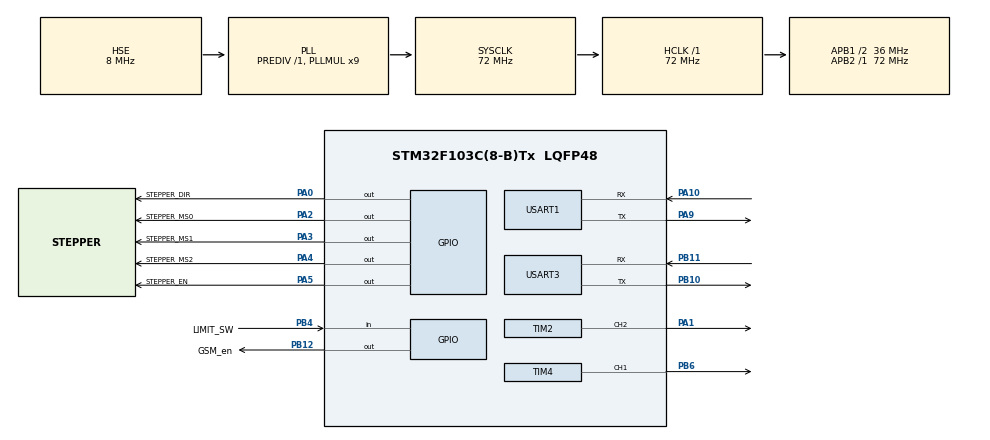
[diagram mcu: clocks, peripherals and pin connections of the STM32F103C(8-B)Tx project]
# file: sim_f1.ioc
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FREERTOS.HEAP_NUMBER=4
FREERTOS.INCLUDE_uxTaskPriorityGet=0
FREERTOS.INCLUDE_vTaskDelete=0
FREERTOS.Tasks01=defaultTask,0,128,StartDefaultTask,Default,NULL,Dynamic,NULL,NULL
FREERTOS.configTOTAL_HEAP_SIZE=12228
Mcu.Family=STM32F1
Mcu.Name=STM32F103C(8-B)Tx
Mcu.Package=LQFP48
NVIC.PriorityGroup=NVIC_PRIORITYGROUP_4
NVIC.TIM2_IRQn=true\:7\:0\:true\:true\:true\:1\:false\:true\:true
NVIC.TIM3_IRQn=true\:0\:0\:false\:false\:true\:false\:false\:true
NVIC.TimeBase=TIM3_IRQn
NVIC.TimeBaseIP=TIM3
NVIC.USART1_IRQn=true\:6\:0\:true\:false\:true\:false\:true\:true
NVIC.USART3_IRQn=true\:6\:0\:true\:false\:true\:true\:true\:true
PA0-WKUP.GPIO_Label=STEPPER_DIR
PA0-WKUP.Signal=GPIO_Output
PA1.Signal=S_TIM2_CH2
PA10.Mode=Asynchronous
PA10.Signal=USART1_RX
PA13.Mode=Trace_Asynchronous_SW
PA13.Signal=SYS_JTMS-SWDIO
PA14.Mode=Trace_Asynchronous_SW
PA14.Signal=SYS_JTCK-SWCLK
PA2.GPIO_Label=STEPPER_MS0
PA2.Signal=GPIO_Output
PA3.GPIO_Label=STEPPER_MS1
PA3.Signal=GPIO_Output
PA4.GPIO_Label=STEPPER_MS2
PA4.Signal=GPIO_Output
PA5.GPIO_Label=STEPPER_EN
PA5.Signal=GPIO_Output
PA9.Mode=Asynchronous
PA9.Signal=USART1_TX
PB10.Mode=Asynchronous
PB10.Signal=USART3_TX
PB11.Mode=Asynchronous
PB11.Signal=USART3_RX
PB12.GPIO_Label=GSM_en
PB12.GPIO_ModeDefaultOutputPP=GPIO_MODE_OUTPUT_OD
PB12.Signal=GPIO_Output
PB3.Mode=Trace_Asynchronous_SW
PB3.Signal=SYS_JTDO-TRACESWO
PB4.GPIO_Label=LIMIT_SW
PB4.GPIO_PuPd=GPIO_PULLUP
PB4.Signal=GPIO_Input
PB6.Signal=S_TIM4_CH1
PD0-OSC_IN.Mode=HSE-External-Oscillator
PD0-OSC_IN.Signal=RCC_OSC_IN
PD1-OSC_OUT.Mode=HSE-External-Oscillator
PD1-OSC_OUT.Signal=RCC_OSC_OUT
ProjectManager.HeapSize=0x200
ProjectManager.StackSize=0x400
ProjectManager.TargetToolchain=STM32CubeIDE
RCC.AHBFreq_Value=72000000
RCC.APB1CLKDivider=RCC_HCLK_DIV2
RCC.APB1Freq_Value=36000000
RCC.APB1TimFreq_Value=72000000
RCC.APB2Freq_Value=72000000
RCC.APB2TimFreq_Value=72000000
RCC.HCLKFreq_Value=72000000
RCC.PLLMUL=RCC_PLL_MUL9
RCC.PLLSourceVirtual=RCC_PLLSOURCE_HSE
RCC.SYSCLKFreq_VALUE=72000000
RCC.SYSCLKSource=RCC_SYSCLKSOURCE_PLLCLK
RCC.USBFreq_Value=72000000
SH.S_TIM2_CH2.0=TIM2_CH2,PWM Generation2 CH2
SH.S_TIM4_CH1.0=TIM4_CH1,PWM Generation1 CH1
TIM2.Channel-PWM\ Generation2\ CH2=TIM_CHANNEL_2
TIM2.Period=100
TIM2.Prescaler=3600
TIM2.Pulse-PWM\ Generation2\ CH2=50
TIM4.Channel-PWM\ Generation1\ CH1=TIM_CHANNEL_1
TIM4.Prescaler=18
TIM4.Pulse-PWM\ Generation1\ CH1=500
USART1.VirtualMode=VM_ASYNC
USART3.Parity=PARITY_NONE
USART3.VirtualMode=VM_ASYNC
VP_FREERTOS_VS_CMSIS_V1.Mode=CMSIS_V1
VP_SYS_VS_tim3.Mode=TIM3
VP_TIM2_VS_ClockSourceINT.Mode=Internal
VP_TIM4_VS_ClockSourceINT.Mode=Internal
board=custom

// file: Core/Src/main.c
/* USER CODE BEGIN Header */
/**
 ******************************************************************************
 * @file           : main.c
 * @brief          : Main program body
 ******************************************************************************
 * @attention
 *
 * <h2><center>&copy; Copyright (c) 2020 STMicroelectronics.
 * All rights reserved.</center></h2>
 *
 * This software component is licensed by ST under BSD 3-Clause license,
 * the "License"; You may not use this file except in compliance with the
 * License. You may obtain a copy of the License at:
 *                        opensource.org/licenses/BSD-3-Clause
 *
 ******************************************************************************
 */
/* USER CODE END Header */
#include "main.h"
#include "cmsis_os.h"
#include "tim.h"
#include "usart.h"
#include "gpio.h"

/* USER CODE BEGIN Includes */
#include "stepper.h"
#include "servo.h"
#include "uart_ui.h"
#include "sim800.h"
#include "core.h"
#include "atc.h"
#include "gsm.h"

/* USER CODE END Includes */

/* USER CODE BEGIN PTD */
atc_t atc;
/* USER CODE END PTD */

/* USER CODE BEGIN PD */
#include <stdio.h>

#define ITM_Port8(n)    (*((volatile unsigned char *)(0xE0000000+4*n)))
#define ITM_Port16(n)   (*((volatile unsigned short*)(0xE0000000+4*n)))
#define ITM_Port32(n)   (*((volatile unsigned long *)(0xE0000000+4*n)))

#define DEMCR           (*((volatile unsigned long *)(0xE000EDFC)))
#define TRCENA          0x01000000

struct __FILE
    {
	int handle; /* Add whatever you need here */
    };
FILE __stdout;
FILE __stdin;

int fputc(int ch, FILE *f)
    {
    if (DEMCR & TRCENA)
	{
	while (ITM_Port32(0) == 0)
	    ;
	ITM_Port8(0) = ch;
	}
    return (ch);
    }
/* USER CODE END PD */

void SystemClock_Config(void);
void MX_FREERTOS_Init(void);
static void MX_NVIC_Init(void);

int main(void)
    {

    /* MCU Configuration--------------------------------------------------------*/

    /* Reset of all peripherals, Initializes the Flash interface and the Systick. */
    HAL_Init();

    /* Configure the system clock */
    SystemClock_Config();

    /* Initialize all configured peripherals */
    MX_GPIO_Init();
    MX_TIM4_Init();
    MX_USART1_UART_Init();
    MX_USART3_UART_Init();
    MX_TIM2_Init();

    /* Initialize interrupts */
    MX_NVIC_Init();
    /* USER CODE BEGIN 2 */
    core_init();
    Servo_init();
    Stepper_init();
    uart_ui_init();
    uart_sim_init();
    gsm_printf("1");
    /* USER CODE END 2 */

    /* Call init function for freertos objects (in freertos.c) */
    MX_FREERTOS_Init();
    /* Start scheduler */
    osKernelStart();

    /* We should never get here as control is now taken by the scheduler */
    /* Infinite loop */
    while (1)
	{

	}
    }

void SystemClock_Config(void)
    {
    RCC_OscInitTypeDef RCC_OscInitStruct =
	{
	0
	};
    RCC_ClkInitTypeDef RCC_ClkInitStruct =
	{
	0
	};

    /** Initializes the RCC Oscillators according to the specified parameters
     * in the RCC_OscInitTypeDef structure.
     */
    RCC_OscInitStruct.OscillatorType = RCC_OSCILLATORTYPE_HSE;
    RCC_OscInitStruct.HSEState = RCC_HSE_ON;
    RCC_OscInitStruct.HSEPredivValue = RCC_HSE_PREDIV_DIV1;
    RCC_OscInitStruct.HSIState = RCC_HSI_ON;
    RCC_OscInitStruct.PLL.PLLState = RCC_PLL_ON;
    RCC_OscInitStruct.PLL.PLLSource = RCC_PLLSOURCE_HSE;
    RCC_OscInitStruct.PLL.PLLMUL = RCC_PLL_MUL9;
    if (HAL_RCC_OscConfig(&RCC_OscInitStruct) != HAL_OK)
	{
	Error_Handler();
	}
    /** Initializes the CPU, AHB and APB buses clocks
     */
    RCC_ClkInitStruct.ClockType = RCC_CLOCKTYPE_HCLK | RCC_CLOCKTYPE_SYSCLK
	    | RCC_CLOCKTYPE_PCLK1 | RCC_CLOCKTYPE_PCLK2;
    RCC_ClkInitStruct.SYSCLKSource = RCC_SYSCLKSOURCE_PLLCLK;
    RCC_ClkInitStruct.AHBCLKDivider = RCC_SYSCLK_DIV1;
    RCC_ClkInitStruct.APB1CLKDivider = RCC_HCLK_DIV2;
    RCC_ClkInitStruct.APB2CLKDivider = RCC_HCLK_DIV1;

    if (HAL_RCC_ClockConfig(&RCC_ClkInitStruct, FLASH_LATENCY_2) != HAL_OK)
	{
	Error_Handler();
	}
    }

/**
 * @brief NVIC Configuration.
 * @retval None
 */
static void MX_NVIC_Init(void)
    {
    /* TIM2_IRQn interrupt configuration */
    HAL_NVIC_SetPriority(TIM2_IRQn, 7, 0);
    HAL_NVIC_EnableIRQ(TIM2_IRQn);
    }

void HAL_TIM_PeriodElapsedCallback(TIM_HandleTypeDef *htim)
    {
    if (htim->Instance == TIM3)
	{
	HAL_IncTick();
	}
    }

void Error_Handler(void)
    {
    }

/************************ (C) COPYRIGHT STMicroelectronics *****END OF FILE****/

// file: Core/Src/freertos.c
/* USER CODE BEGIN Header */
/**
 ******************************************************************************
 * File Name          : freertos.c
 * Description        : Code for freertos applications
 ******************************************************************************
 * @attention
 *
 * <h2><center>&copy; Copyright (c) 2020 STMicroelectronics.
 * All rights reserved.</center></h2>
 *
 * This software component is licensed by ST under Ultimate Liberty license
 * SLA0044, the "License"; You may not use this file except in compliance with
 * the License. You may obtain a copy of the License at:
 *                             www.st.com/SLA0044
 *
 ******************************************************************************
 */
/* USER CODE END Header */

#include "FreeRTOS.h"
#include "task.h"
#include "main.h"
#include "cmsis_os.h"

/* USER CODE BEGIN Includes */
#include "stepper.h"
#include "servo.h"
/* USER CODE END Includes */

/* USER CODE BEGIN PD */
//extern Servo_str Servo;
//extern Step_motor_str Stepper;
//static Servo_str *servo = &Servo;
//static Step_motor_str *stepper = &Stepper;
/* USER CODE END PD */

osThreadId defaultTaskHandle;

void StartDefaultTask(void const * argument);

void MX_FREERTOS_Init(void); /* (MISRA C 2004 rule 8.1) */

/* GetIdleTaskMemory prototype (linked to static allocation support) */
void vApplicationGetIdleTaskMemory( StaticTask_t **ppxIdleTaskTCBBuffer, StackType_t **ppxIdleTaskStackBuffer, uint32_t *pulIdleTaskStackSize );

/* USER CODE BEGIN GET_IDLE_TASK_MEMORY */
static StaticTask_t xIdleTaskTCBBuffer;
static StackType_t xIdleStack[configMINIMAL_STACK_SIZE];

void vApplicationGetIdleTaskMemory(StaticTask_t **ppxIdleTaskTCBBuffer,
	StackType_t **ppxIdleTaskStackBuffer, uint32_t *pulIdleTaskStackSize)
    {
    *ppxIdleTaskTCBBuffer = &xIdleTaskTCBBuffer;
    *ppxIdleTaskStackBuffer = &xIdleStack[0];
    *pulIdleTaskStackSize = configMINIMAL_STACK_SIZE;
    /* place for user code */
    }
/* USER CODE END GET_IDLE_TASK_MEMORY */

void MX_FREERTOS_Init(void) {

  /* Create the thread(s) */
  /* definition and creation of defaultTask */
  osThreadDef(defaultTask, StartDefaultTask, osPriorityNormal, 0, 128);
  defaultTaskHandle = osThreadCreate(osThread(defaultTask), NULL);

}

void StartDefaultTask(void const * argument)
{
  /* USER CODE BEGIN StartDefaultTask */
    /* Infinite loop */
    for (;;)
	{
	vTaskDelay(1);
	}
  /* USER CODE END StartDefaultTask */
}

/************************ (C) COPYRIGHT STMicroelectronics *****END OF FILE****/
